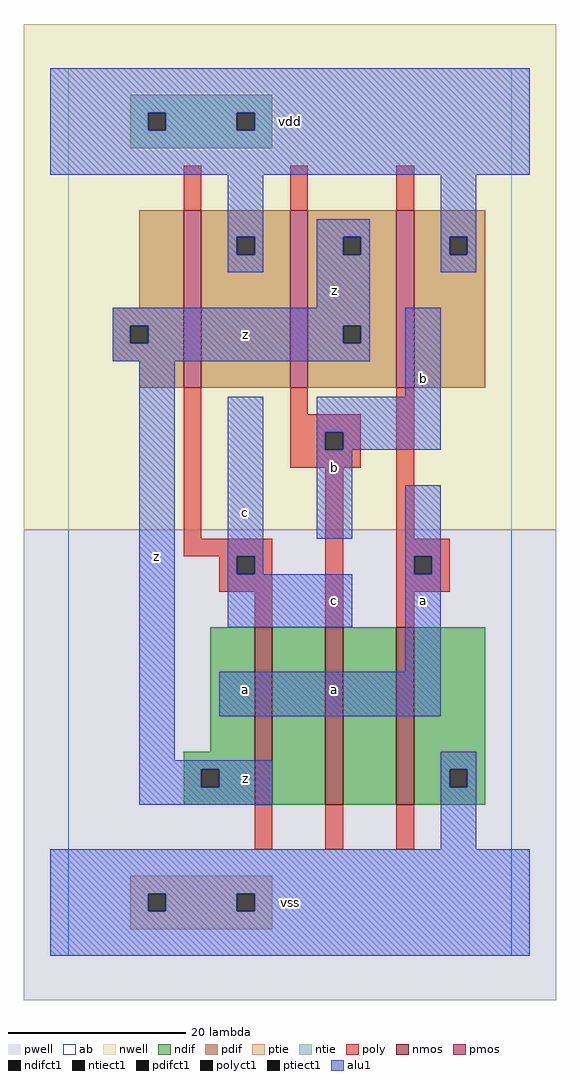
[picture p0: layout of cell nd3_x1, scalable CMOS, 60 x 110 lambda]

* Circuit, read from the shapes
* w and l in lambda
.subckt nd3_x1 a b c vdd vss z
M1 n1 c z vss nfet w=20 l=2
M2 n2 b n1 vss nfet w=20 l=2
M3 vss a n2 vss nfet w=20 l=2
M4 vdd c z vdd pfet w=20 l=2
M5 z b vdd vdd pfet w=20 l=2
M6 vdd a z vdd pfet w=20 l=2
.ends

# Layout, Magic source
magic
tech scmos
<< ab >>
rect 0 0 50 100
<< nwell >>
rect -5 48 55 105
<< pwell >>
rect -5 -5 55 48
<< poly >>
rect 13 84 15 89
rect 25 84 27 89
rect 37 84 39 89
rect 13 47 15 64
rect 25 61 27 64
rect 25 59 33 61
rect 25 57 29 59
rect 31 57 33 59
rect 25 55 33 57
rect 13 45 23 47
rect 17 43 19 45
rect 21 43 23 45
rect 17 41 23 43
rect 21 37 23 41
rect 29 37 31 55
rect 37 47 39 64
rect 37 45 43 47
rect 37 43 39 45
rect 41 43 43 45
rect 37 41 43 43
rect 37 37 39 41
rect 21 12 23 17
rect 29 12 31 17
rect 37 12 39 17
<< ndif >>
rect 16 23 21 37
rect 13 21 21 23
rect 13 19 15 21
rect 17 19 21 21
rect 13 17 21 19
rect 23 17 29 37
rect 31 17 37 37
rect 39 21 47 37
rect 39 19 43 21
rect 45 19 47 21
rect 39 17 47 19
<< pdif >>
rect 8 73 13 84
rect 5 71 13 73
rect 5 69 7 71
rect 9 69 13 71
rect 5 67 13 69
rect 8 64 13 67
rect 15 81 25 84
rect 15 79 19 81
rect 21 79 25 81
rect 15 64 25 79
rect 27 81 37 84
rect 27 79 31 81
rect 33 79 37 81
rect 27 71 37 79
rect 27 69 31 71
rect 33 69 37 71
rect 27 64 37 69
rect 39 81 47 84
rect 39 79 43 81
rect 45 79 47 81
rect 39 64 47 79
<< alu1 >>
rect -2 95 52 100
rect -2 93 9 95
rect 11 93 19 95
rect 21 93 52 95
rect -2 88 52 93
rect 18 81 22 88
rect 18 79 19 81
rect 21 79 22 81
rect 18 77 22 79
rect 28 81 34 83
rect 28 79 31 81
rect 33 79 34 81
rect 28 73 34 79
rect 42 81 46 88
rect 42 79 43 81
rect 45 79 46 81
rect 42 77 46 79
rect 5 71 34 73
rect 5 69 7 71
rect 9 69 31 71
rect 33 69 34 71
rect 5 67 34 69
rect 8 22 12 67
rect 38 63 42 73
rect 18 45 22 63
rect 28 59 42 63
rect 28 57 29 59
rect 31 57 42 59
rect 28 47 32 57
rect 18 43 19 45
rect 21 43 22 45
rect 38 45 42 53
rect 38 43 39 45
rect 41 43 42 45
rect 18 37 32 43
rect 38 32 42 43
rect 17 27 42 32
rect 8 21 23 22
rect 8 19 15 21
rect 17 19 23 21
rect 8 17 23 19
rect 42 21 46 23
rect 42 19 43 21
rect 45 19 46 21
rect 42 12 46 19
rect -2 7 52 12
rect -2 5 9 7
rect 11 5 19 7
rect 21 5 52 7
rect -2 0 52 5
<< ptie >>
rect 7 7 23 9
rect 7 5 9 7
rect 11 5 19 7
rect 21 5 23 7
rect 7 3 23 5
<< ntie >>
rect 7 95 23 97
rect 7 93 9 95
rect 11 93 19 95
rect 21 93 23 95
rect 7 91 23 93
<< nmos >>
rect 21 17 23 37
rect 29 17 31 37
rect 37 17 39 37
<< pmos >>
rect 13 64 15 84
rect 25 64 27 84
rect 37 64 39 84
<< polyct1 >>
rect 29 57 31 59
rect 19 43 21 45
rect 39 43 41 45
<< ndifct1 >>
rect 15 19 17 21
rect 43 19 45 21
<< ntiect1 >>
rect 9 93 11 95
rect 19 93 21 95
<< ptiect1 >>
rect 9 5 11 7
rect 19 5 21 7
<< pdifct1 >>
rect 7 69 9 71
rect 19 79 21 81
rect 31 79 33 81
rect 31 69 33 71
rect 43 79 45 81
<< labels >>
rlabel alu1 20 20 20 20 6 z
rlabel alu1 10 45 10 45 6 z
rlabel alu1 20 30 20 30 6 a
rlabel alu1 20 50 20 50 6 c
rlabel alu1 20 70 20 70 6 z
rlabel alu1 25 6 25 6 6 vss
rlabel alu1 30 40 30 40 6 c
rlabel alu1 30 30 30 30 6 a
rlabel alu1 30 55 30 55 6 b
rlabel alu1 30 75 30 75 6 z
rlabel alu1 25 94 25 94 6 vdd
rlabel alu1 40 40 40 40 6 a
rlabel alu1 40 65 40 65 6 b
<< end >>
